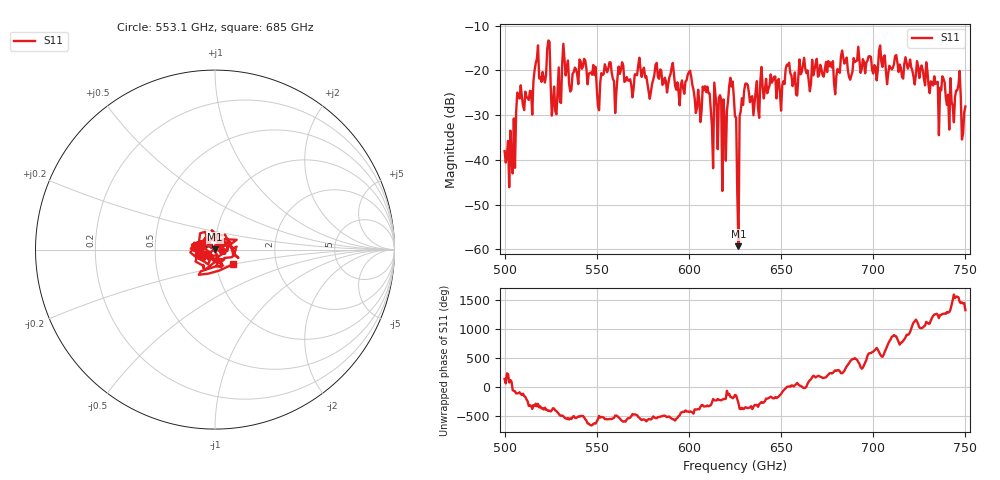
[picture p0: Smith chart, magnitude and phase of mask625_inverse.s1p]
!Created with skrf (http://scikit-rf.org).
# GHz S MA R 50.0
!freq magS11 angS11
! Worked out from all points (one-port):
!   401 points, 500 GHz to 750 GHz, reference 50 ohm
!   lowest |S11| = -59.3 dB at 626.9 GHz (marker M1), VSWR 1.00, Z = 50 + j0.107 ohm
!   |S11| at or under -10 dB: start of sweep to end of sweep
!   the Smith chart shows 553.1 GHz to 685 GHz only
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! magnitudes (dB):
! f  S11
! 500 GHz  -38.0
! 503.1 GHz  -33.5
! 507.5 GHz  -25.5
! 513.8 GHz  -24.6
! 516.9 GHz  -18.4
! 523.8 GHz  -13.3
! 526.9 GHz  -23.6
! 531.2 GHz  -18.3
! 542.5 GHz  -19.2
! 551.2 GHz  -28.9
! 562.5 GHz  -20.8
! 593.8 GHz  -22.7
! 610 GHz  -23.6
! 611.9 GHz  -29.0
! 615 GHz  -28.0
! 619.4 GHz  -31.2
! 623.1 GHz  -23.6
! 625 GHz  -30.3
! 625.6 GHz  -30.5
! 626.9 GHz  -59.3
! 628.8 GHz  -26.2
! 631.2 GHz  -22.9
! 656.2 GHz  -23.5
! 687.5 GHz  -22.1
! 718.8 GHz  -19.6
! 742.5 GHz  -27.0
! 746.2 GHz  -23.2
! 750 GHz  -28.1
